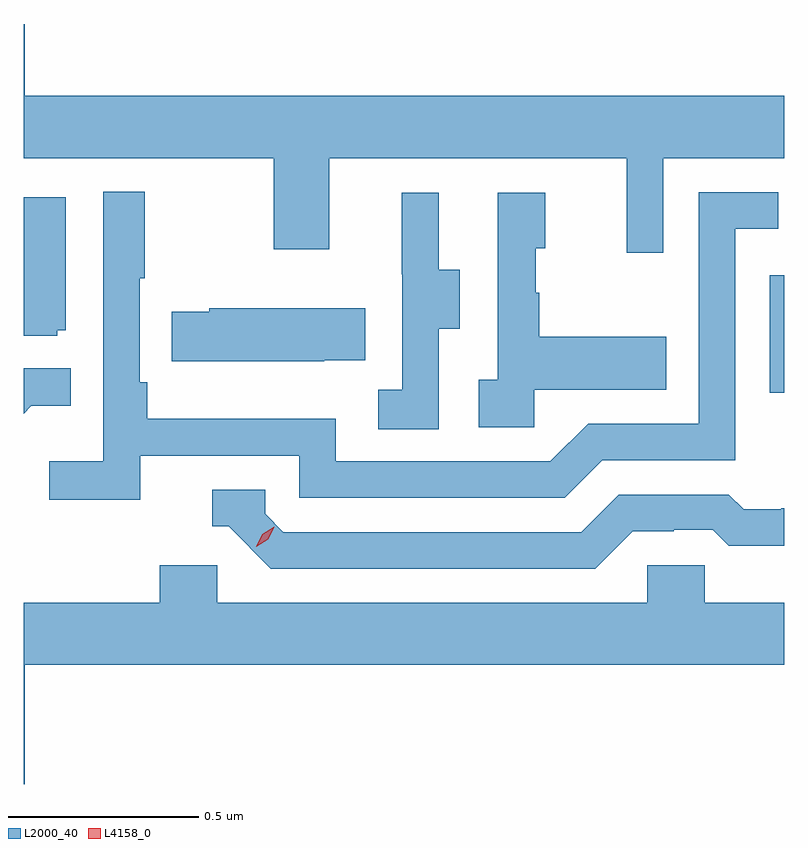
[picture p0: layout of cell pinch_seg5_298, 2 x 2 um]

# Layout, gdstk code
import gdstk
lib = gdstk.Library(unit=1e-6, precision=1e-09)
def R(c, l, rs):  # rectangles x0, y0, x1, y1
    for r in rs: c.add(gdstk.rectangle(r[:2], r[2:], *l))
def P(c, l, *ps):  # polygons
    for p in ps: c.add(gdstk.Polygon(p, *l))
L2000_40 = (2000, 40)
L4158_0 = (4158, 0)

pinch_seg5_298 = lib.new_cell('pinch_seg5_298')
R(pinch_seg5_298, L2000_40, [(922.374,893.439,922.413,893.748)])
P(pinch_seg5_298, L2000_40, [(922.095,894.056),(922.413,894.056),(922.413,894.22),(920.416,894.22),(920.416,894.409),(920.413,894.409),(920.413,894.056),(921.07,894.056),(921.07,893.817),(921.217,893.817),(921.217,894.056),(921.998,894.056),(921.998,893.808),(922.095,893.808)],
  [(920.72,893.274),(921.138,893.274),(921.138,893.163),(921.835,893.163),(921.934,893.262),(922.284,893.262),(922.284,893.871),(922.397,893.871),(922.397,893.967),(922.188,893.967),(922.188,893.358),(921.897,893.358),(921.798,893.259),(921.234,893.259),(921.234,893.371),(920.738,893.371),(920.738,893.467),(920.718,893.467),(920.718,893.74),(920.731,893.74),(920.731,893.968),(920.622,893.968),(920.622,893.26),(920.481,893.26),(920.481,893.158),(920.72,893.158)],
  [(921.756,893.447),(922.103,893.447),(922.103,893.587),(921.769,893.587),(921.769,893.702),(921.759,893.702),(921.759,893.82),(921.784,893.82),(921.784,893.965),(921.66,893.965),(921.66,893.474),(921.609,893.474),(921.609,893.349),(921.756,893.349)],
  [(921.504,893.608),(921.559,893.608),(921.559,893.763),(921.505,893.763),(921.505,893.965),(921.407,893.965),(921.407,893.751),(921.408,893.751),(921.408,893.447),(921.345,893.447),(921.345,893.344),(921.504,893.344)],
  [(920.502,893.604),(920.524,893.604),(920.524,893.953),(920.413,893.953),(920.413,893.589),(920.502,893.589)],
  [(921.203,893.525),(921.311,893.525),(921.311,893.662),(920.901,893.662),(920.901,893.652),(920.803,893.652),(920.803,893.522),(921.203,893.522)],
  [(920.433,893.405),(920.537,893.405),(920.537,893.504),(920.413,893.504),(920.413,893.385)],
  [(922.015,893.076),(922.122,893.076),(922.122,893.079),(922.225,893.079),(922.267,893.037),(922.413,893.037),(922.413,893.136),(922.405,893.136),(922.405,893.133),(922.306,893.133),(922.267,893.172),(921.978,893.172),(921.879,893.073),(921.096,893.073),(921.048,893.121),(921.048,893.184),(920.909,893.184),(920.909,893.088),(920.952,893.088),(921.063,892.977),(921.916,892.977)],
  [(922.413,892.888),(922.203,892.888),(922.203,892.986),(922.053,892.986),(922.053,892.888),(920.922,892.888),(920.922,892.986),(920.771,892.986),(920.771,892.888),(920.413,892.888),(920.413,892.411),(920.416,892.411),(920.416,892.724),(922.413,892.724)])
P(pinch_seg5_298, L4158_0, [(921.025,893.035),(921.025,893.035),(921.041,893.068),(921.072,893.087),(921.072,893.087),(921.072,893.087),(921.056,893.054),(921.025,893.035)])

lib.write_gds('pinch_seg5_298.gds')
